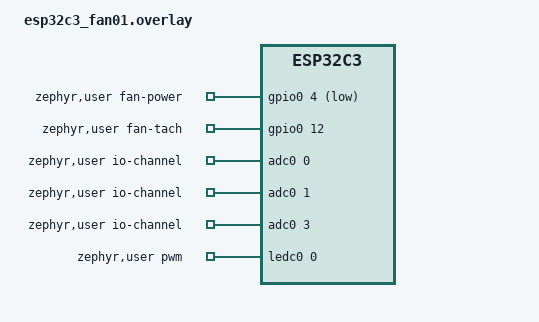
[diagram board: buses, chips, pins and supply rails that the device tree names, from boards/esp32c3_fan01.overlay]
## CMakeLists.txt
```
# SPDX-License-Identifier: Apache-2.0

cmake_minimum_required(VERSION 3.20.0)

set(EXTRA_ZEPHYR_MODULES ${CMAKE_CURRENT_SOURCE_DIR}/../modules/husb238)
set(DTS_ROOT ${CMAKE_CURRENT_SOURCE_DIR})

find_package(Zephyr REQUIRED HINTS $ENV{ZEPHYR_BASE})
project(fan01)

target_include_directories(app PRIVATE ${CMAKE_CURRENT_SOURCE_DIR}/src)
target_sources(app PRIVATE
	src/main.c
	src/fan_ctrl.c
	src/pd_manager.c
	src/display_manager.c
	src/input_manager.c
	src/settings_manager.c
	src/wifi_manager.c
	src/web_server.c
)

zephyr_linker_sources(SECTIONS sections-rom.ld)
zephyr_linker_section(NAME http_resource_desc_web_service KVMA RAM_REGION GROUP RODATA_REGION)

set(gen_dir ${ZEPHYR_BINARY_DIR}/include/generated/)
generate_inc_file_for_target(app
	${CMAKE_CURRENT_SOURCE_DIR}/web/index.html
	${gen_dir}/index.html.gz.inc
	--gzip
)
```

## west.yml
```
manifest:
  version: 0.8

  self:
    path: project

  projects:
    - name: zephyr
      revision: v4.5.0
      url: https://github.com/zephyrproject-rtos/zephyr.git
      west-commands: scripts/west-commands.yml
      import:
        path-prefix: deps
        file: west.yml
        name-allowlist:
          - hal_espressif
          - mcuboot
          - mbedtls
          - tf-psa-crypto
          - percepio
          - zcbor
```

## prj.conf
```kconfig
# 编译优化
CONFIG_SPEED_OPTIMIZATIONS=y

# 日志系统
CONFIG_LOG=y
CONFIG_LOG_DEFAULT_LEVEL=3
CONFIG_LOG_FLUSH_SLEEP_US=100

# 调试相关
CONFIG_DEBUG_THREAD_INFO=y
CONFIG_DEBUG=y

# 堆栈大小
CONFIG_MAIN_STACK_SIZE=2048
CONFIG_SYSTEM_WORKQUEUE_STACK_SIZE=2048
CONFIG_IDLE_STACK_SIZE=1024
CONFIG_ISR_STACK_SIZE=2048
CONFIG_INPUT_THREAD_STACK_SIZE=2048
CONFIG_LOG_PROCESS_THREAD_STACK_SIZE=2048

# 基础支持
CONFIG_INIT_STACKS=y
CONFIG_CBPRINTF_FP_SUPPORT=y
CONFIG_REBOOT=y
CONFIG_HEAP_MEM_POOL_SIZE=81920

# GPIO / PWM / ADC
CONFIG_GPIO=y
CONFIG_PWM=y
CONFIG_ADC=y

# 按键输入 (gpio-keys)
CONFIG_INPUT=y
CONFIG_INPUT_GPIO_KEYS=y

# Flash 与 Settings (NVS) + MCUboot OTA
CONFIG_FLASH=y
CONFIG_FLASH_MAP=y
CONFIG_FLASH_PAGE_LAYOUT=y
CONFIG_STREAM_FLASH=y
CONFIG_IMG_MANAGER=y
CONFIG_MCUBOOT_IMG_MANAGER=y
CONFIG_IMG_ERASE_PROGRESSIVELY=y
CONFIG_NVS=y
CONFIG_SETTINGS=y
CONFIG_SETTINGS_NVS=y

# I2C & HUSB238
CONFIG_I2C=y
CONFIG_HUSB238_DRIVER=y

# Display (SSD1306 128x32 OLED)
CONFIG_DISPLAY=y

# Wi-Fi 配置
CONFIG_WIFI=y
CONFIG_WIFI_NM=y
CONFIG_WIFI_ESP32=y
CONFIG_WIFI_USAGE_MODE_STA_AP=y
CONFIG_ESP32_PHY_MAX_TX_POWER=14
CONFIG_ESP32_WIFI_STA_SCAN_ALL=y
CONFIG_ESP32_WIFI_STA_POWER_SAVE_NONE=y
CONFIG_ESP32_WIFI_AMPDU_TX_ENABLED=n
CONFIG_ESP32_WIFI_AMPDU_RX_ENABLED=n
CONFIG_WIFI_STA_AUTO_DHCPV4=n

# 网络协议栈
CONFIG_NETWORKING=y
CONFIG_NET_L2_ETHERNET=y
CONFIG_NET_IPV4=y
CONFIG_NET_IF_MAX_IPV4_COUNT=2
CONFIG_NET_MGMT=y
CONFIG_NET_MGMT_EVENT=y
CONFIG_NET_MGMT_EVENT_INFO=y
CONFIG_NET_MGMT_EVENT_QUEUE_SIZE=64
CONFIG_NET_DHCPV4=y
CONFIG_NET_DHCPV4_INITIAL_DELAY_MAX=2
CONFIG_NET_HOSTNAME_ENABLE=y
CONFIG_NET_HOSTNAME="FAN01"
CONFIG_NET_DHCPV4_SERVER=y
CONFIG_NET_TCP=y
CONFIG_NET_SOCKETS=y
CONFIG_POSIX_API=y
CONFIG_NET_MAX_CONTEXTS=16
CONFIG_NET_MAX_CONN=16
CONFIG_NET_SOCKETS_SERVICE_STACK_SIZE=4096

# Network buffers
CONFIG_NET_PKT_RX_COUNT=16
CONFIG_NET_PKT_TX_COUNT=16
CONFIG_NET_BUF_RX_COUNT=64
CONFIG_NET_BUF_TX_COUNT=64

# ZVFS / HTTP Server
CONFIG_EVENTFD=y
CONFIG_ZVFS_EVENTFD_MAX=16
CONFIG_ZVFS_POLL_MAX=24
CONFIG_HTTP_PARSER=y
CONFIG_HTTP_PARSER_URL=y
CONFIG_HTTP_SERVER=y
CONFIG_HTTP_SERVER_MAX_CLIENTS=8
CONFIG_HTTP_SERVER_CLIENT_INACTIVITY_TIMEOUT=5
CONFIG_HTTP_SERVER_COMPRESSION=y

# Shell
CONFIG_SHELL=y
CONFIG_NET_SHELL=y
CONFIG_NET_L2_WIFI_SHELL=y
```

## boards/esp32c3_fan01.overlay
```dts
/* SPDX-License-Identifier: Apache-2.0 */

#include <zephyr/dt-bindings/pwm/pwm.h>
#include <zephyr/dt-bindings/gpio/gpio.h>

/ {
	chosen {
		zephyr,settings-partition = &settings_partition;
	};

	zephyr,user {
		/*
		 * ADC1 channels:
		 *   0 -> CH0 (GPIO0): 风扇电流采样
		 *   1 -> CH1 (GPIO1): 风扇电压采样
		 *   2 -> CH3 (GPIO3): 输入电压采样
		 */
		io-channels = <&adc0 0>,
			      <&adc0 1>,
			      <&adc0 3>;

		/* LEDC CH0 (GPIO13), 1.5kHz 反相 PWM */
		pwms = <&ledc0 0 PWM_HZ(1500) PWM_POLARITY_INVERTED>;

		/* GPIO4: 风扇供电控制（开漏输出，低电平有效） */
		fan-power-gpios = <&gpio0 4 (GPIO_OPEN_DRAIN | GPIO_ACTIVE_LOW)>;

		/* GPIO12: 风扇转速脉冲输入（每转 2 脉冲） */
		fan-tach-gpios = <&gpio0 12 GPIO_ACTIVE_HIGH>;
	};

	wifi_ap: wifi_ap {
		compatible = "espressif,esp32-wifi";
		status = "okay";
	};
};
```

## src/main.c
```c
/*
 * Copyright (c) 2024 umi
 *
 * SPDX-License-Identifier: Apache-2.0
 */

#include <hal/brownout_ll.h>
#include <zephyr/dfu/mcuboot.h>
#include <zephyr/init.h>
#include <zephyr/kernel.h>
#include <zephyr/logging/log.h>

#include "display_manager.h"
#include "fan_ctrl.h"
#include "input_manager.h"
#include "pd_manager.h"
#include "settings_manager.h"
#include "web_server.h"
#include "wifi_manager.h"

LOG_MODULE_REGISTER(main, LOG_LEVEL_INF);

static int early_brownout_cfg(void)
{
	/* 与原 ESP-IDF sdkconfig 对齐：关闭无消抖硬件模拟 BOD 复位，设为最低阈值 7 (2.51V) 并延长消抖周期 */
	brownout_ll_ana_reset_enable(false);
	brownout_ll_set_threshold(7);
	brownout_ll_reset_config(true, 0x3ff, BROWNOUT_RESET_LEVEL_SYSTEM);
	brownout_ll_bod_enable(true);
	return 0;
}

SYS_INIT(early_brownout_cfg, PRE_KERNEL_1, 0);

int main(void)
{
	LOG_INF("FAN01 starting (Zephyr)...");

	settings_manager_init();

	float kp, ki, kd;

	settings_get_pid(&kp, &ki, &kd);
	fan_ctrl_set_pid(kp, ki, kd);

	fan_ctrl_init();
	pd_manager_init((enum husb238_pdo_voltage)settings_get_pdo_voltage());
	display_manager_init();

	/* 等待 Type-C PD 电压协商完成（最多 800ms），避免在 5V 切换期触发 Wi-Fi 射频校准峰值电流导致欠压复位 */
	for (int i = 0; i < 16 && !pd_manager_is_settled(); i++) {
		k_msleep(50);
	}

	if (settings_get_fan_speed_use_storage()) {
		fan_ctrl_set_target_speed(settings_get_fan_speed());
		fan_ctrl_set_switch(settings_get_fan_switch());
	}

	wifi_manager_init();
	web_server_start();
	input_manager_init();

	/* MCUboot OTA 确认：当前镜像正常启动后标记为已确认 */
	if (!boot_is_img_confirmed()) {
		int rc = boot_write_img_confirmed();

		if (rc == 0) {
			LOG_INF("MCUboot image confirmed");
		} else {
			LOG_WRN("boot_write_img_confirmed failed: %d", rc);
		}
	}

	while (1) {
		k_sleep(K_SECONDS(1));
	}

	return 0;
}
```

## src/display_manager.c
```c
/*
 * Copyright (c) 2024 umi
 *
 * SPDX-License-Identifier: Apache-2.0
 */

#include "display_manager.h"
#include "fan_ctrl.h"
#include "settings_manager.h"
#include "wifi_manager.h"

#include <stdio.h>
#include <string.h>
#include <zephyr/device.h>
#include <zephyr/drivers/display.h>
#include <zephyr/drivers/i2c.h>
#include <zephyr/kernel.h>
#include <zephyr/logging/log.h>

LOG_MODULE_REGISTER(display_mgr, LOG_LEVEL_INF);

#define DISPLAY_NODE  DT_CHOSEN(zephyr_display)
#define OLED_I2C_BUS  DT_BUS(DISPLAY_NODE)
#define OLED_I2C_ADDR DT_REG_ADDR(DISPLAY_NODE)
#define DISP_W        128
#define DISP_H        32
#define DISP_PAGES    (DISP_H / 8)
#define DISP_BUF_SZ   (DISP_W * DISP_PAGES)

#define ANIM_DURATION_MS 220
#define RENDER_ANIM_MS   16
#define RENDER_BLINK_MS  100
#define RENDER_IDLE_MS   120
#define WIFI_BLINK_MS    300

static const struct device *display_dev;
static const struct device *oled_i2c_dev;
static bool display_ready;
static bool boot_sync_done;
static uint8_t frame_buf[DISP_BUF_SZ];

static const struct display_buffer_descriptor frame_desc = {
	.buf_size = DISP_BUF_SZ,
	.width = DISP_W,
	.height = DISP_H,
	.pitch = DISP_W,
};

/* 标准 5x7 ASCII 点阵字体（按列排列，6px 等宽步进） */
static const uint8_t font_5x7[95][5] = {
	{0x00, 0x00, 0x00, 0x00, 0x00}, /* ' ' */
	{0x00, 0x00, 0x5F, 0x00, 0x00}, /* '!' */
	{0x00, 0x07, 0x00, 0x07, 0x00}, /* '"' */
	{0x14, 0x7F, 0x14, 0x7F, 0x14}, /* '#' */
	{0x24, 0x2A, 0x7F, 0x2A, 0x12}, /* '$' */
	{0x23, 0x13, 0x08, 0x64, 0x62}, /* '%' */
	{0x36, 0x49, 0x55, 0x22, 0x50}, /* '&' */
	{0x00, 0x05, 0x03, 0x00, 0x00}, /* ''' */
	{0x00, 0x1C, 0x22, 0x41, 0x00}, /* '(' */
	{0x00, 0x41, 0x22, 0x1C, 0x00}, /* ')' */
	{0x14, 0x08, 0x3E, 0x08, 0x14}, /* '*' */
	{0x08, 0x08, 0x3E, 0x08, 0x08}, /* '+' */
	{0x00, 0x50, 0x30, 0x00, 0x00}, /* ',' */
	{0x08, 0x08, 0x08, 0x08, 0x08}, /* '-' */
	{0x00, 0x60, 0x60, 0x00, 0x00}, /* '.' */
	{0x20, 0x10, 0x08, 0x04, 0x02}, /* '/' */
	{0x3E, 0x51, 0x49, 0x45, 0x3E}, /* '0' */
	{0x00, 0x42, 0x7F, 0x40, 0x00}, /* '1' */
	{0x42, 0x61, 0x51, 0x49, 0x46}, /* '2' */
	{0x21, 0x41, 0x45, 0x4B, 0x31}, /* '3' */
	{0x18, 0x14, 0x12, 0x7F, 0x10}, /* '4' */
	{0x27, 0x45, 0x45, 0x45, 0x39}, /* '5' */
	{0x3C, 0x4A, 0x49, 0x49, 0x30}, /* '6' */
	{0x01, 0x71, 0x09, 0x05, 0x03}, /* '7' */
	{0x36, 0x49, 0x49, 0x49, 0x36}, /* '8' */
	{0x06, 0x49, 0x49, 0x29, 0x1E}, /* '9' */
	{0x00, 0x36, 0x36, 0x00, 0x00}, /* ':' */
	{0x00, 0x56, 0x36, 0x00, 0x00}, /* ';' */
	{0x08, 0x14, 0x22, 0x41, 0x00}, /* '<' */
	{0x14, 0x14, 0x14, 0x14, 0x14}, /* '=' */
	{0x00, 0x41, 0x22, 0x14, 0x08}, /* '>' */
	{0x02, 0x01, 0x51, 0x09, 0x06}, /* '?' */
	{0x32, 0x49, 0x79, 0x41, 0x3E}, /* '@' */
	{0x7E, 0x11, 0x11, 0x11, 0x7E}, /* 'A' */
	{0x7F, 0x49, 0x49, 0x49, 0x36}, /* 'B' */
	{0x3E, 0x41, 0x41, 0x41, 0x22}, /* 'C' */
	{0x7F, 0x41, 0x41, 0x22, 0x1C}, /* 'D' */
	{0x7F, 0x49, 0x49, 0x49, 0x41}, /* 'E' */
	{0x7F, 0x09, 0x09, 0x09, 0x01}, /* 'F' */
	{0x3E, 0x41, 0x49, 0x49, 0x7A}, /* 'G' */
	{0x7F, 0x08, 0x08, 0x08, 0x7F}, /* 'H' */
	{0x00, 0x41, 0x7F, 0x41, 0x00}, /* 'I' */
	{0x20, 0x40, 0x41, 0x3F, 0x01}, /* 'J' */
	{0x7F, 0x08, 0x14, 0x22, 0x41}, /* 'K' */
	{0x7F, 0x40, 0x40, 0x40, 0x40}, /* 'L' */
	{0x7F, 0x02, 0x0C, 0x02, 0x7F}, /* 'M' */
	{0x7F, 0x04, 0x08, 0x10, 0x7F}, /* 'N' */
	{0x3E, 0x41, 0x41, 0x41, 0x3E}, /* 'O' */
	{0x7F, 0x09, 0x09, 0x09, 0x06}, /* 'P' */
	{0x3E, 0x41, 0x51, 0x21, 0x5E}, /* 'Q' */
	{0x7F, 0x09, 0x19, 0x29, 0x46}, /* 'R' */
	{0x46, 0x49, 0x49, 0x49, 0x31}, /* 'S' */
	{0x01, 0x01, 0x7F, 0x01, 0x01}, /* 'T' */
	{0x3F, 0x40, 0x40, 0x40, 0x3F}, /* 'U' */
	{0x1F, 0x20, 0x40, 0x20, 0x1F}, /* 'V' */
	{0x3F, 0x40, 0x38, 0x40, 0x3F}, /* 'W' */
	{0x63, 0x14, 0x08, 0x14, 0x63}, /* 'X' */
	{0x07, 0x08, 0x70, 0x08, 0x07}, /* 'Y' */
	{0x61, 0x51, 0x49, 0x45, 0x43}, /* 'Z' */
	{0x00, 0x7F, 0x41, 0x41, 0x00}, /* '[' */
	{0x02, 0x04, 0x08, 0x10, 0x20}, /* '\' */
	{0x00, 0x41, 0x41, 0x7F, 0x00}, /* ']' */
	{0x04, 0x02, 0x01, 0x02, 0x04}, /* '^' */
	{0x40, 0x40, 0x40, 0x40, 0x40}, /* '_' */
	{0x00, 0x01, 0x02, 0x04, 0x00}, /* '`' */
	{0x20, 0x54, 0x54, 0x54, 0x78}, /* 'a' */
	{0x7F, 0x48, 0x44, 0x44, 0x38}, /* 'b' */
	{0x38, 0x44, 0x44, 0x44, 0x20}, /* 'c' */
	{0x38, 0x44, 0x44, 0x48, 0x7F}, /* 'd' */
	{0x38, 0x54, 0x54, 0x54, 0x18}, /* 'e' */
	{0x08, 0x7E, 0x09, 0x01, 0x02}, /* 'f' */
	{0x0C, 0x52, 0x52, 0x52, 0x3E}, /* 'g' */
	{0x7F, 0x08, 0x04, 0x04, 0x78}, /* 'h' */
	{0x00, 0x44, 0x7D, 0x40, 0x00}, /* 'i' */
	{0x20, 0x40, 0x44, 0x3D, 0x00}, /* 'j' */
	{0x7F, 0x10, 0x28, 0x44, 0x00}, /* 'k' */
	{0x00, 0x41, 0x7F, 0x40, 0x00}, /* 'l' */
	{0x7C, 0x04, 0x18, 0x04, 0x78}, /* 'm' */
	{0x7C, 0x08, 0x04, 0x04, 0x78}, /* 'n' */
	{0x38, 0x44, 0x44, 0x44, 0x38}, /* 'o' */
	{0x7C, 0x14, 0x14, 0x14, 0x08}, /* 'p' */
	{0x08, 0x14, 0x14, 0x18, 0x7C}, /* 'q' */
	{0x7C, 0x08, 0x04, 0x04, 0x08}, /* 'r' */
	{0x48, 0x54, 0x54, 0x54, 0x20}, /* 's' */
	{0x04, 0x3F, 0x44, 0x40, 0x20}, /* 't' */
	{0x3C, 0x40, 0x40, 0x20, 0x7C}, /* 'u' */
	{0x1C, 0x20, 0x40, 0x20, 0x1C}, /* 'v' */
	{0x3C, 0x40, 0x30, 0x40, 0x3C}, /* 'w' */
	{0x44, 0x28, 0x10, 0x28, 0x44}, /* 'x' */
	{0x0C, 0x50, 0x50, 0x50, 0x3C}, /* 'y' */
	{0x44, 0x64, 0x54, 0x4C, 0x44}, /* 'z' */
	{0x00, 0x08, 0x36, 0x41, 0x00}, /* '{' */
	{0x00, 0x00, 0x7F, 0x00, 0x00}, /* '|' */
	{0x00, 0x41, 0x36, 0x08, 0x00}, /* '}' */
	{0x08, 0x04, 0x08, 0x10, 0x08}, /* '~' */
};

/* 11x9 WiFi 图标（按列排列，每列 2 字节，bit0..bit8） */
static const uint16_t wifi_icon_cols[11] = {
	0x004, /* col 0:   .     */
	0x00A, /* col 1:  . .    */
	0x011, /* col 2: .   .   */
	0x024, /* col 3:         */
	0x04A, /* col 4:         */
	0x155, /* col 5: center  */
	0x04A, /* col 6:         */
	0x024, /* col 7:         */
	0x011, /* col 8:         */
	0x00A, /* col 9:         */
	0x004, /* col 10:        */
};

/* ── 动画插值 (Cubic Ease-Out) ────────────────────────────────────── */

struct anim_coord {
	int start;
	int target;
	int current;
	int64_t start_ms;
	int duration_ms;
};

enum disp_pwr_state {
	DISP_PWR_FULL = 0,
	DISP_PWR_DIM,
	DISP_PWR_OFF,
};

static K_MUTEX_DEFINE(ui_lock);
static K_SEM_DEFINE(ui_wake_sem, 0, 1);

static bool on_wifi_page;
static struct anim_coord main_y = {.target = 0, .current = 0};
static struct anim_coord wifi_y = {.target = DISP_H, .current = DISP_H};

static enum disp_pwr_state pwr_state = DISP_PWR_FULL;
static int64_t last_activity_ms;
static bool cfg_dirty = true;
static uint8_t applied_contrast = 255;

static void anim_set_target(struct anim_coord *a, int target, int duration_ms)
{
	a->start = a->current;
	a->target = target;
	a->start_ms = k_uptime_get();
	a->duration_ms = duration_ms;
}

static bool anim_step(struct anim_coord *a, int64_t now_ms)
{
	if (a->current == a->target) {
		return false;
	}

	if (a->duration_ms <= 0 || (now_ms - a->start_ms) >= a->duration_ms) {
		a->current = a->target;
		return false;
	}

	float t = (float)(now_ms - a->start_ms) / (float)a->duration_ms;
	float inv = 1.0f - t;
	float ease = 1.0f - inv * inv * inv;

	a->current = a->start + (int)((float)(a->target - a->start) * ease +
				      ((a->target >= a->start) ? 0.5f : -0.5f));
	return true;
}

/* ── 帧缓冲绘图原语 ───────────────────────────────────────────────── */

static void fb_set_pixel(int x, int y)
{
	if (x < 0 || x >= DISP_W || y < 0 || y >= DISP_H) {
		return;
	}
	frame_buf[(y >> 3) * DISP_W + x] |= BIT(y & 0x07);
}

static void fb_fill_rect(int x, int y, int w, int h)
{
	for (int dy = 0; dy < h; dy++) {
		for (int dx = 0; dx < w; dx++) {
			fb_set_pixel(x + dx, y + dy);
		}
	}
}

static void fb_draw_char(int x, int y, char c)
{
	if (c < 0x20 || c > 0x7E) {
		c = '?';
	}
	const uint8_t *glyph = font_5x7[c - 0x20];

	for (int col = 0; col < 5; col++) {
		uint8_t bits = glyph[col];

		for (int row = 0; row < 7; row++) {
			if (bits & BIT(row)) {
				fb_set_pixel(x + col, y + row);
			}
		}
	}
}

static void fb_draw_str(int x, int y, const char *str)
{
	while (*str) {
		fb_draw_char(x, y, *str++);
		x += 6;
	}
}

static void fb_draw_str_clip(int x, int y, const char *str, int max_chars)
{
	for (int i = 0; i < max_chars && str[i] != '\0'; i++) {
		fb_draw_char(x + i * 6, y, str[i]);
	}
}

/*
 * 12x20 粗体圆角七段数字渲染（用于主页面左上角大号转速显示）
 * 7段编码 bit0..bit6: a(top), b(top-R), c(bot-R), d(bot), e(bot-L), f(top-L), g(mid)
 */
static void fb_draw_big_digit(int x, int y, uint8_t digit)
{
	static const uint8_t seg_lut[10] = {
		0x3F, /* 0: a b c d e f */
		0x06, /* 1: b c */
		0x5B, /* 2: a b d e g */
		0x4F, /* 3: a b c d g */
		0x66, /* 4: b c f g */
		0x6D, /* 5: a c d f g */
		0x7D, /* 6: a c d e f g */
		0x07, /* 7: a b c */
		0x7F, /* 8: all */
		0x6F, /* 9: a b c d f g */
	};

	if (digit > 9) {
		return;
	}

	uint8_t s = seg_lut[digit];

	if (s & BIT(0)) { /* a: 顶横 */
		fb_fill_rect(x + 1, y + 0, 10, 3);
	}
	if (s & BIT(1)) { /* b: 右上竖 */
		fb_fill_rect(x + 9, y + 1, 3, 8);
	}
	if (s & BIT(2)) { /* c: 右下竖 */
		fb_fill_rect(x + 9, y + 11, 3, 8);
	}
	if (s & BIT(3)) { /* d: 底横 */
		fb_fill_rect(x + 1, y + 17, 10, 3);
	}
	if (s & BIT(4)) { /* e: 左下竖 */
		fb_fill_rect(x + 0, y + 11, 3, 8);
	}
	if (s & BIT(5)) { /* f: 左上竖 */
		fb_fill_rect(x + 0, y + 1, 3, 8);
	}
	if (s & BIT(6)) { /* g: 中横 */
		fb_fill_rect(x + 1, y + 8, 10, 3);
	}
}

/* 右对齐绘制大号 RPM，保证个/十/百/千/万位 X 坐标固定不跳动 */
static void fb_draw_big_rpm_right(int right_x, int y, uint16_t rpm)
{
	char digits[6];
	int len = snprintf(digits, sizeof(digits), "%u", rpm);
	int x = right_x - 12;

	for (int i = len - 1; i >= 0; i--) {
		fb_draw_big_digit(x, y, (uint8_t)(digits[i] - '0'));
		x -= 14;
	}
}

static void fb_draw_wifi_icon(int x, int y)
{
	/* 简洁清晰的 11x9 扇形 WiFi 图标 */
	static const uint16_t icon[11] = {
		0x004, /* .       */
		0x002, /* .       */
		0x019, /* arcs    */
		0x024,
		0x082,
		0x149, /* dot+top */
		0x082,
		0x024,
		0x019,
		0x002,
		0x004,
	};

	for (int col = 0; col < 11; col++) {
		uint16_t bits = icon[col];

		for (int row = 0; row < 9; row++) {
			if (bits & BIT(row)) {
				fb_set_pixel(x + col, y + row);
			}
		}
	}
}

static void fb_draw_ap_icon(int x, int y)
{
	/* AP 发射塔图标 11x9 */
	fb_fill_rect(x + 5, y + 3, 1, 6);
	fb_fill_rect(x + 4, y + 2, 3, 2);
	fb_set_pixel(x + 2, y + 1);
	fb_set_pixel(x + 1, y + 2);
	fb_set_pixel(x + 1, y + 3);
	fb_set_pixel(x + 2, y + 4);
	fb_set_pixel(x + 8, y + 1);
	fb_set_pixel(x + 9, y + 2);
	fb_set_pixel(x + 9, y + 3);
	fb_set_pixel(x + 8, y + 4);
}

static void fb_draw_rssi_bars(int x, int y, int bars)
{
	/* 4 阶信号柱 (11x7，与上方 11x9 WiFi 图标左对齐) */
	static const uint8_t heights[4] = {2, 4, 6, 7};

	for (int i = 0; i < 4; i++) {
		int bx = x + i * 3;
		int h = heights[i];

		if (i < bars) {
			fb_fill_rect(bx, y + 7 - h, 2, h);
		} else {
			/* 未达到的柱位画 1px 底座点，提示总格数 */
			fb_fill_rect(bx, y + 6, 2, 1);
		}
	}
}

static int rssi_to_bars(int8_t rssi)
{
	if (rssi >= 0) {
		return 0;
	}
	if (rssi >= -55) {
		return 4;
	}
	if (rssi >= -67) {
		return 3;
	}
	if (rssi >= -78) {
		return 2;
	}
	if (rssi >= -90) {
		return 1;
	}
	return 0;
}

/* ── 页面绘制 ─────────────────────────────────────────────────────── */

static void draw_main_page(int oy, int64_t now_ms, const struct wifi_info *winfo)
{
	if (oy <= -DISP_H || oy >= DISP_H) {
		return;
	}

	/* 左上角: 实时转速大数字（右对齐在 x=78，防止位数变化跳动） */
	fb_draw_big_rpm_right(78, oy + 1, fan_ctrl_get_speed());

	/* 左下角: 开关状态放左边，目标转速右对齐放右边 */
	fb_draw_str(0, oy + 24, fan_ctrl_get_switch() ? "ON" : "OFF");

	char target_str[20];
	int tlen = snprintf(target_str, sizeof(target_str), "TS:%u",
			    fan_ctrl_get_target_speed());
	int tx = 79 - tlen * 6;

	if (tx < 22) {
		tx = 22;
	}
	fb_draw_str(tx, oy + 24, target_str);

	/* 右侧状态栏分隔线 */
	fb_fill_rect(82, oy + 1, 1, 30);

	/* 右侧状态栏 (x=85..127)，不显示 IP */
	bool blink_on = ((now_ms / WIFI_BLINK_MS) % 2) == 0;

	if (winfo->state == WIFI_STATE_CONNECTING) {
		if (blink_on) {
			fb_draw_wifi_icon(86, oy + 1);
		}
		fb_draw_str(101, oy + 2, "LINK");
		fb_draw_rssi_bars(86, oy + 13, 0);
		fb_draw_str(101, oy + 13, "--");
	} else if (winfo->state == WIFI_STATE_CONNECTED) {
		char rstr[8];

		fb_draw_wifi_icon(86, oy + 1);
		fb_draw_str(101, oy + 2, "STA");
		fb_draw_rssi_bars(86, oy + 13, rssi_to_bars(winfo->rssi));
		if (winfo->rssi < 0) {
			snprintf(rstr, sizeof(rstr), "%d", (int)winfo->rssi);
		} else {
			snprintf(rstr, sizeof(rstr), "--");
		}
		fb_draw_str_clip(101, oy + 13, rstr, 4);
	} else {
		/* AP 模式或空闲 */
		fb_draw_ap_icon(86, oy + 1);
		fb_draw_str(101, oy + 2, "AP");
		fb_draw_rssi_bars(86, oy + 13, 0);
		fb_draw_str(101, oy + 13, "--");
	}

	/* 右下角显示输入电压 (CH3) */
	char vstr[10];

	snprintf(vstr, sizeof(vstr), "%.1fV", (double)fan_ctrl_get_voltage());
	fb_draw_str_clip(86, oy + 24, vstr, 7);
}

static void draw_wifi_page(int oy, int64_t now_ms, const struct wifi_info *winfo)
{
	if (oy <= -DISP_H || oy >= DISP_H) {
		return;
	}

	bool blink_on = ((now_ms / WIFI_BLINK_MS) % 2) == 0;
	char line[48];

	if (winfo->state == WIFI_STATE_CONNECTED) {
		fb_draw_str(0, oy + 1, "WIFI: STA OK");
		fb_draw_wifi_icon(116, oy + 0);

		snprintf(line, sizeof(line), "SSID:%s", winfo->ssid);
		fb_draw_str_clip(0, oy + 12, line, 21);

		snprintf(line, sizeof(line), "IP:%s",
			 winfo->ip[0] ? winfo->ip : "0.0.0.0");
		fb_draw_str_clip(0, oy + 23, line, 21);
	} else if (winfo->state == WIFI_STATE_CONNECTING) {
		fb_draw_str(0, oy + 1, "WIFI: CONNECTING");
		if (blink_on) {
			fb_draw_wifi_icon(116, oy + 0);
		}

		snprintf(line, sizeof(line), "SSID:%s", winfo->ssid);
		fb_draw_str_clip(0, oy + 12, line, 21);
		fb_draw_str(0, oy + 23, "Connecting...");
	} else {
		fb_draw_str(0, oy + 1,
			    winfo->has_saved_creds ? "WIFI: AP [Reconn]"
						   : "WIFI: AP MODE");
		fb_draw_ap_icon(116, oy + 0);

		snprintf(line, sizeof(line), "AP:%s", winfo->ssid);
		fb_draw_str_clip(0, oy + 12, line, 9);

		if (winfo->ap_psk[0]) {
			char psk_line[20];
			int plen = snprintf(psk_line, sizeof(psk_line), "PW:%s",
					    winfo->ap_psk);
			int px = (DISP_W + 1) - plen * 6;

			if (px < 58) {
				px = 58;
			}
			fb_draw_str_clip(px, oy + 12, psk_line,
					 (DISP_W - px + 1) / 6);
		}

		snprintf(line, sizeof(line), "IP:%s",
			 winfo->ip[0] ? winfo->ip : "192.168.4.1");
		fb_draw_str_clip(0, oy + 23, line, 21);
	}
}

/* ── 渲染线程 ─────────────────────────────────────────────────────── */

static int ssd1306_i2c_sync(uint8_t contrast, bool full_init, bool turn_on)
{
	if (!oled_i2c_dev || !device_is_ready(oled_i2c_dev)) {
		return -ENODEV;
	}

	if (full_init) {
		uint8_t init_cmds[] = {
			0x00,
			0xD5, 0x80, /* Clock div ratio */
			0xA8, 0x1F, /* Multiplex 31 (128x32) */
			0xD3, 0x00, /* Display offset 0 */
			0x40,       /* Start line 0 */
			0x8D, 0x14, /* Enable internal charge pump */
			0x33,       /* Pump voltage 9V */
			0xA1,       /* Segment remap */
			0xC8,       /* COM scan flipped */
			0xDA, 0x02, /* COM pins sequential */
			0xD9, 0x22, /* Precharge period */
			0xDB, 0x20, /* VCOM deselect */
			0xA4,       /* Resume RAM content */
			0xA6,       /* Normal (non-inverted) */
			0x81, contrast,
			turn_on ? 0xAF : 0xAE,
		};

		return i2c_write(oled_i2c_dev, init_cmds, sizeof(init_cmds), OLED_I2C_ADDR);
	}

	uint8_t wake_cmds[] = {
		0x00,
		0x8D, 0x14,
		0xA4,
		0x81, contrast,
		turn_on ? 0xAF : 0xAE,
	};

	return i2c_write(oled_i2c_dev, wake_cmds, sizeof(wake_cmds), OLED_I2C_ADDR);
}

static int oled_flush_fb(uint8_t contrast)
{
	if (display_dev) {
		int ret = display_write(display_dev, 0, 0, &frame_desc, frame_buf);

		if (ret == 0) {
			return 0;
		}
		LOG_WRN("display_write failed (%d), syncing SSD1306", ret);
		ssd1306_i2c_sync(contrast, true, true);
		return display_write(display_dev, 0, 0, &frame_desc, frame_buf);
	}

	if (!oled_i2c_dev || !device_is_ready(oled_i2c_dev)) {
		return -ENODEV;
	}

	uint8_t win_cmds[] = {
		0x00,
		0x20, 0x00,
		0x21, 0x00, DISP_W - 1,
		0x22, 0x00, DISP_PAGES - 1,
	};
	int ret = i2c_write(oled_i2c_dev, win_cmds, sizeof(win_cmds), OLED_I2C_ADDR);

	if (ret != 0) {
		return ret;
	}

	static uint8_t pkt[1 + DISP_BUF_SZ];

	pkt[0] = 0x40;
	memcpy(&pkt[1], frame_buf, DISP_BUF_SZ);
	return i2c_write(oled_i2c_dev, pkt, sizeof(pkt), OLED_I2C_ADDR);
}

static void oled_apply_power(uint8_t contrast, bool on)
{
	if (display_dev) {
		if (on) {
			display_blanking_off(display_dev);
		} else {
			display_blanking_on(display_dev);
		}
	}
	if (on) {
		ssd1306_i2c_sync(contrast, false, true);
	} else if (!display_dev) {
		ssd1306_i2c_sync(contrast, false, false);
	}
}

static void oled_apply_contrast(uint8_t contrast)
{
	if (display_dev) {
		display_set_contrast(display_dev, contrast);
	} else {
		uint8_t cmd[] = { 0x00, 0x81, contrast };

		if (oled_i2c_dev && device_is_ready(oled_i2c_dev)) {
			(void)i2c_write(oled_i2c_dev, cmd, sizeof(cmd), OLED_I2C_ADDR);
		}
	}
}

static void update_display_power(int64_t now_ms)
{
	uint32_t full_s, dim_s;
	uint8_t full_bright, dim_bright;

	settings_get_display_cfg(&full_s, &dim_s, &full_bright, &dim_bright);

	enum disp_pwr_state target_state = DISP_PWR_FULL;
	uint8_t target_contrast = full_bright;

	if (full_s > 0 || dim_s > 0) {
		int64_t idle_ms = now_ms - last_activity_ms;
		int64_t full_ms = (int64_t)full_s * 1000;
		int64_t off_ms = (int64_t)(full_s + dim_s) * 1000;

		if (idle_ms >= off_ms) {
			target_state = DISP_PWR_OFF;
		} else if (idle_ms >= full_ms && dim_s > 0) {
			target_state = DISP_PWR_DIM;
			target_contrast = dim_bright;
		}
	}

	if (target_state != pwr_state || cfg_dirty) {
		if (target_state == DISP_PWR_OFF) {
			if (pwr_state != DISP_PWR_OFF) {
				LOG_INF("OLED auto sleep (OFF)");
				oled_apply_power(applied_contrast, false);
			}
		} else {
			if (pwr_state == DISP_PWR_OFF) {
				LOG_INF("OLED wake");
				oled_apply_power(target_contrast, true);
			}
			if (applied_contrast != target_contrast || cfg_dirty) {
				applied_contrast = target_contrast;
				oled_apply_contrast(target_contrast);
			}
		}
		pwr_state = target_state;
		cfg_dirty = false;
	}
}

static void display_thread_fn(void *arg1, void *arg2, void *arg3)
{
	ARG_UNUSED(arg1);
	ARG_UNUSED(arg2);
	ARG_UNUSED(arg3);

	while (1) {
		if (!display_ready) {
			k_sleep(K_MSEC(500));
			continue;
		}

		struct wifi_info winfo;

		wifi_manager_get_info(&winfo);

		bool animating = false;
		int64_t now = k_uptime_get();

		k_mutex_lock(&ui_lock, K_FOREVER);
		update_display_power(now);
		bool is_off = (pwr_state == DISP_PWR_OFF);

		if (!is_off) {
			if (!boot_sync_done && now >= 1200) {
				ssd1306_i2c_sync(applied_contrast, true, true);
				boot_sync_done = true;
			}
			animating |= anim_step(&main_y, now);
			animating |= anim_step(&wifi_y, now);

			memset(frame_buf, 0, sizeof(frame_buf));
			draw_main_page(main_y.current, now, &winfo);
			draw_wifi_page(wifi_y.current, now, &winfo);
		}
		k_mutex_unlock(&ui_lock);

		if (!is_off) {
			if (oled_flush_fb(applied_contrast) != 0) {
				ssd1306_i2c_sync(applied_contrast, true, true);
			}
		}

		int wait_ms = RENDER_IDLE_MS;

		if (is_off) {
			wait_ms = 250;
		} else if (animating) {
			wait_ms = RENDER_ANIM_MS;
		} else if (winfo.state == WIFI_STATE_CONNECTING) {
			wait_ms = RENDER_BLINK_MS;
		}

		k_sem_take(&ui_wake_sem, K_MSEC(wait_ms));
	}
}

K_THREAD_DEFINE(display_thread_id, 2048, display_thread_fn,
		NULL, NULL, NULL, 7, 0, 100);

/* ── 公共 API ──────────────────────────────────────────────────────── */

int display_manager_init(void)
{
	ARG_UNUSED(wifi_icon_cols);

	oled_i2c_dev = DEVICE_DT_GET(OLED_I2C_BUS);
	display_dev = DEVICE_DT_GET(DISPLAY_NODE);
	if (!device_is_ready(display_dev)) {
		LOG_WRN("Zephyr ssd1306 device not ready, using direct I2C fallback");
		display_dev = NULL;
	}

	uint8_t full_bright = 255;

	settings_get_display_cfg(NULL, NULL, &full_bright, NULL);
	applied_contrast = full_bright;
	last_activity_ms = k_uptime_get();
	pwr_state = DISP_PWR_FULL;
	cfg_dirty = false;
	boot_sync_done = false;

	if (display_dev) {
		/* 使用正常显示模式（黑底亮字），避免反显白底导致烧屏 */
		if (display_set_pixel_format(display_dev, PIXEL_FORMAT_MONO01) != 0) {
			LOG_WRN("Failed to set PIXEL_FORMAT_MONO01");
		}
		display_set_contrast(display_dev, full_bright);
		display_blanking_off(display_dev);
	}

	if (ssd1306_i2c_sync(full_bright, true, true) != 0 && !display_dev) {
		LOG_ERR("Display I2C init failed");
		return -ENODEV;
	}

	memset(frame_buf, 0, sizeof(frame_buf));
	(void)oled_flush_fb(full_bright);
	display_ready = true;
	k_sem_give(&ui_wake_sem);

	LOG_INF("Display manager initialized (SSD1306 128x32 normal mode)");
	return 0;
}

void display_manager_toggle_page(void)
{
	k_mutex_lock(&ui_lock, K_FOREVER);
	last_activity_ms = k_uptime_get();
	on_wifi_page = !on_wifi_page;
	if (on_wifi_page) {
		anim_set_target(&main_y, -DISP_H, ANIM_DURATION_MS);
		anim_set_target(&wifi_y, 0, ANIM_DURATION_MS);
	} else {
		anim_set_target(&main_y, 0, ANIM_DURATION_MS);
		anim_set_target(&wifi_y, DISP_H, ANIM_DURATION_MS);
	}
	k_mutex_unlock(&ui_lock);
	k_sem_give(&ui_wake_sem);
}

bool display_manager_is_wifi_page(void)
{
	bool res;

	k_mutex_lock(&ui_lock, K_FOREVER);
	res = on_wifi_page;
	k_mutex_unlock(&ui_lock);
	return res;
}

void display_manager_request_redraw(void)
{
	k_sem_give(&ui_wake_sem);
}

bool display_manager_wake(void)
{
	bool was_off;

	k_mutex_lock(&ui_lock, K_FOREVER);
	was_off = (pwr_state == DISP_PWR_OFF);
	last_activity_ms = k_uptime_get();
	cfg_dirty = true;
	k_mutex_unlock(&ui_lock);
	k_sem_give(&ui_wake_sem);
	return was_off;
}

void display_manager_reload_cfg(void)
{
	k_mutex_lock(&ui_lock, K_FOREVER);
	last_activity_ms = k_uptime_get();
	cfg_dirty = true;
	k_mutex_unlock(&ui_lock);
	k_sem_give(&ui_wake_sem);
}
```

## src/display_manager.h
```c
/*
 * Copyright (c) 2024 umi
 *
 * SPDX-License-Identifier: Apache-2.0
 */

#ifndef DISPLAY_MANAGER_H_
#define DISPLAY_MANAGER_H_

#include <stdbool.h>

#ifdef __cplusplus
extern "C" {
#endif

int display_manager_init(void);
void display_manager_toggle_page(void);
bool display_manager_is_wifi_page(void);
void display_manager_request_redraw(void);

/* 唤醒屏幕并重置熄屏计时；若唤醒前处于熄屏状态则返回 true */
bool display_manager_wake(void);

/* 当 Web 修改了亮度/熄屏时间配置后通知立即应用 */
void display_manager_reload_cfg(void);

#ifdef __cplusplus
}
#endif

#endif /* DISPLAY_MANAGER_H_ */
```

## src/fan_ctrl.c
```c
/*
 * Copyright (c) 2024 umi
 *
 * SPDX-License-Identifier: Apache-2.0
 */

#include "fan_ctrl.h"
#include "settings_manager.h"

#include <stdlib.h>
#include <string.h>
#include <zephyr/device.h>
#include <zephyr/drivers/adc.h>
#include <zephyr/drivers/gpio.h>
#include <zephyr/drivers/pwm.h>
#include <zephyr/kernel.h>
#include <zephyr/logging/log.h>
#include <zephyr/shell/shell.h>
#include <zephyr/sys/atomic.h>

LOG_MODULE_REGISTER(fan_ctrl, LOG_LEVEL_INF);

#define FAN_TASK_CYCLE_MS    50
#define FAN_STACK_SIZE       2048
#define FAN_THREAD_PRIORITY  5
#define ADC_AVG_SAMPLES      16
#define TACH_TIMEOUT_MS      1000

/* ── DeviceTree 硬件规格 ───────────────────────────────────────────── */

static const struct gpio_dt_spec fan_power_gpio =
	GPIO_DT_SPEC_GET(DT_PATH(zephyr_user), fan_power_gpios);
static const struct gpio_dt_spec fan_tach_gpio =
	GPIO_DT_SPEC_GET(DT_PATH(zephyr_user), fan_tach_gpios);
static const struct pwm_dt_spec fan_pwm =
	PWM_DT_SPEC_GET(DT_PATH(zephyr_user));

static const struct adc_dt_spec adc_current_spec =
	ADC_DT_SPEC_GET_BY_IDX(DT_PATH(zephyr_user), 0);
static const struct adc_dt_spec adc_fan_v_spec =
	ADC_DT_SPEC_GET_BY_IDX(DT_PATH(zephyr_user), 1);
static const struct adc_dt_spec adc_in_v_spec =
	ADC_DT_SPEC_GET_BY_IDX(DT_PATH(zephyr_user), 2);

/* ── PID 控制器（参数与原 ESP-IDF 工程一致） ──────────────────────── */

struct pid_ctrl {
	float p;
	float i;
	float d;
	float i_min;
	float i_max;
	float diff;
	float diff_sum;
	float target_val;
};

static struct pid_ctrl fan_pid = {
	.p = 0.0008f,
	.i = 0.0f,
	.d = 0.0005f,
	.i_min = -0.5f,
	.i_max = 0.5f,
};

static float clamp_f(float v, float min_v, float max_v)
{
	if (v < min_v) {
		return min_v;
	}
	if (v > max_v) {
		return max_v;
	}
	return v;
}

static void pid_reset(struct pid_ctrl *pid)
{
	pid->diff = 0.0f;
	pid->diff_sum = 0.0f;
}

static float pid_calc(struct pid_ctrl *pid, float now_val)
{
	float diff_change = pid->target_val - now_val - pid->diff;

	pid->diff += diff_change;
	pid->diff_sum = clamp_f(pid->diff_sum + pid->diff, pid->i_min, pid->i_max);

	return pid->diff * pid->p + pid->diff_sum * pid->i + diff_change * pid->d;
}

/* ── 状态变量 ──────────────────────────────────────────────────────── */

static bool fan_power_switch;
static float current_duty_cycle;

static int32_t filter_voltage_mv;
static int32_t filter_current_ma;
static int32_t filter_power_mw;

/* 测速状态 */
static struct gpio_callback tach_cb;
static uint32_t tach_last_cyc;
static bool tach_has_prev;
static atomic_t tach_rpm_atomic = ATOMIC_INIT(0);
static atomic_t tach_last_ms_atomic = ATOMIC_INIT(0);

static K_SEM_DEFINE(fan_start_sem, 0, 1);

static void tach_isr(const struct device *dev, struct gpio_callback *cb, uint32_t pins)
{
	ARG_UNUSED(dev);
	ARG_UNUSED(cb);
	ARG_UNUSED(pins);

	uint32_t now_cyc = k_cycle_get_32();

	if (tach_has_prev) {
		uint32_t diff_cyc = now_cyc - tach_last_cyc;
		uint64_t diff_us = k_cyc_to_us_near64(diff_cyc);

		/* 过滤毛刺脉冲 (<500us 对应 >60000RPM) */
		if (diff_us >= 500U) {
			uint32_t rpm = (uint32_t)(0.5f * (60000000.0f / (float)diff_us));

			atomic_set(&tach_rpm_atomic, (atomic_val_t)rpm);
			atomic_set(&tach_last_ms_atomic, (atomic_val_t)k_uptime_get_32());
			tach_last_cyc = now_cyc;
		}
	} else {
		tach_last_cyc = now_cyc;
		tach_has_prev = true;
		atomic_set(&tach_last_ms_atomic, (atomic_val_t)k_uptime_get_32());
	}
}

static int read_adc_avg_mv(const struct adc_dt_spec *spec, int32_t *out_mv)
{
	uint16_t raw_buf = 0;
	struct adc_sequence seq = {
		.buffer = &raw_buf,
		.buffer_size = sizeof(raw_buf),
	};
	int32_t sum_mv = 0;
	int valid = 0;

	adc_sequence_init_dt(spec, &seq);

	for (int i = 0; i < ADC_AVG_SAMPLES; i++) {
		int err = adc_read_dt(spec, &seq);

		if (err == 0) {
			int32_t mv = (int32_t)raw_buf;

			err = adc_raw_to_millivolts_dt(spec, &mv);
			if (err == 0) {
				sum_mv += mv;
				valid++;
			}
		}
	}

	if (valid == 0) {
		return -EIO;
	}

	*out_mv = sum_mv / valid;
	return 0;
}

static void fan_set_duty_cycle(float duty_pct)
{
	current_duty_cycle = clamp_f(duty_pct, 0.0f, 100.0f);
	uint32_t pulse_ns = (uint32_t)(((double)fan_pwm.period * (double)current_duty_cycle) / 100.0);
	int err = pwm_set_pulse_dt(&fan_pwm, pulse_ns);

	if (err != 0) {
		LOG_ERR("pwm_set_pulse_dt failed: %d", err);
	}
}

static void fan_read_power(void)
{
	int32_t raw_v_mv = 0;
	int32_t raw_i_mv = 0;

	if (read_adc_avg_mv(&adc_in_v_spec, &raw_v_mv) == 0) {
		int32_t voltage_mv = (raw_v_mv * 27500) / 2500;

		filter_voltage_mv = (filter_voltage_mv * 3 + voltage_mv) / 4;
	}

	if (read_adc_avg_mv(&adc_current_spec, &raw_i_mv) == 0) {
		int32_t current_ma = (raw_i_mv * 2020) / 2500;

		filter_current_ma = (filter_current_ma * 3 + current_ma) / 4;
	}

	filter_power_mw = (filter_current_ma * filter_voltage_mv) / 1000;
}

static void fan_thread_fn(void *arg1, void *arg2, void *arg3)
{
	ARG_UNUSED(arg1);
	ARG_UNUSED(arg2);
	ARG_UNUSED(arg3);

	k_sem_take(&fan_start_sem, K_FOREVER);

	while (1) {
		k_sleep(K_MSEC(FAN_TASK_CYCLE_MS));

		/* 超时未收到脉冲则转速归零 */
		uint32_t now_ms = k_uptime_get_32();
		uint32_t last_ms = (uint32_t)atomic_get(&tach_last_ms_atomic);

		if ((now_ms - last_ms) > TACH_TIMEOUT_MS) {
			atomic_set(&tach_rpm_atomic, 0);
		}

		fan_read_power();

		if (fan_power_switch) {
			float delta = pid_calc(&fan_pid, (float)fan_ctrl_get_speed());

			fan_set_duty_cycle(current_duty_cycle + delta);
		} else {
			pid_reset(&fan_pid);
			fan_set_duty_cycle(0.0f);
		}
	}
}

K_THREAD_DEFINE(fan_thread_id, FAN_STACK_SIZE, fan_thread_fn,
		NULL, NULL, NULL, FAN_THREAD_PRIORITY, 0, 0);

/* ── 公共 API ──────────────────────────────────────────────────────── */

int fan_ctrl_init(void)
{
	int err;

	if (!gpio_is_ready_dt(&fan_power_gpio)) {
		LOG_ERR("Fan power GPIO not ready");
		return -ENODEV;
	}
	/* 配置开漏输出，初始关闭供电，由 fan_ctrl_set_switch 联动控制 */
	err = gpio_pin_configure_dt(&fan_power_gpio,
				      fan_power_switch ? GPIO_OUTPUT_ACTIVE : GPIO_OUTPUT_INACTIVE);
	if (err != 0) {
		LOG_ERR("Fan power GPIO config failed: %d", err);
		return err;
	}

	if (!gpio_is_ready_dt(&fan_tach_gpio)) {
		LOG_ERR("Fan tach GPIO not ready");
		return -ENODEV;
	}
	err = gpio_pin_configure_dt(&fan_tach_gpio, GPIO_INPUT);
	if (err != 0) {
		LOG_ERR("Fan tach GPIO config failed: %d", err);
		return err;
	}

	gpio_init_callback(&tach_cb, tach_isr, BIT(fan_tach_gpio.pin));
	err = gpio_add_callback(fan_tach_gpio.port, &tach_cb);
	if (err != 0) {
		LOG_ERR("Tach add_callback failed: %d", err);
		return err;
	}
	err = gpio_pin_interrupt_configure_dt(&fan_tach_gpio, GPIO_INT_EDGE_RISING);
	if (err != 0) {
		LOG_ERR("Tach int config failed: %d", err);
		return err;
	}

	if (!pwm_is_ready_dt(&fan_pwm)) {
		LOG_ERR("Fan PWM device not ready");
		return -ENODEV;
	}
	fan_set_duty_cycle(0.0f);

	const struct adc_dt_spec *adcs[] = {
		&adc_current_spec,
		&adc_fan_v_spec,
		&adc_in_v_spec,
	};

	for (size_t i = 0; i < ARRAY_SIZE(adcs); i++) {
		if (!adc_is_ready_dt(adcs[i])) {
			LOG_ERR("ADC channel %zu not ready", i);
			return -ENODEV;
		}
		err = adc_channel_setup_dt(adcs[i]);
		if (err != 0) {
			LOG_ERR("ADC channel %zu setup failed: %d", i, err);
			return err;
		}
	}

	k_sem_give(&fan_start_sem);
	LOG_INF("Fan controller initialized");
	return 0;
}

void fan_ctrl_set_switch(bool sw)
{
	if (fan_power_switch != sw) {
		fan_power_switch = sw;
		gpio_pin_set_dt(&fan_power_gpio, sw ? 1 : 0);
		LOG_INF("Fan power %s", sw ? "ON" : "OFF");
	}
}

bool fan_ctrl_get_switch(void)
{
	return fan_power_switch;
}

void fan_ctrl_turn_switch(void)
{
	fan_ctrl_set_switch(!fan_power_switch);
}

void fan_ctrl_set_target_speed(uint16_t rpm)
{
	if (rpm > FAN_MAX_TARGET_RPM) {
		rpm = FAN_MAX_TARGET_RPM;
	}
	fan_pid.target_val = (float)rpm;
}

uint16_t fan_ctrl_get_target_speed(void)
{
	return (uint16_t)fan_pid.target_val;
}

uint16_t fan_ctrl_get_speed(void)
{
	return (uint16_t)atomic_get(&tach_rpm_atomic);
}

float fan_ctrl_get_voltage(void)
{
	return (float)filter_voltage_mv / 1000.0f;
}

float fan_ctrl_get_current(void)
{
	return (float)filter_current_ma / 1000.0f;
}

float fan_ctrl_get_power(void)
{
	return (float)filter_power_mw / 1000.0f;
}

float fan_ctrl_get_duty_cycle(void)
{
	return current_duty_cycle;
}

void fan_ctrl_set_pid(float kp, float ki, float kd)
{
	fan_pid.p = kp;
	fan_pid.i = ki;
	fan_pid.d = kd;
	pid_reset(&fan_pid);
}

void fan_ctrl_get_pid(float *kp, float *ki, float *kd)
{
	if (kp) {
		*kp = fan_pid.p;
	}
	if (ki) {
		*ki = fan_pid.i;
	}
	if (kd) {
		*kd = fan_pid.d;
	}
}

/* ── Shell 命令 ─────────────────────────────────────────────────────── */

static int cmd_fan_status(const struct shell *sh, size_t argc, char **argv)
{
	ARG_UNUSED(argc);
	ARG_UNUSED(argv);

	shell_print(sh, "Switch: %s, Duty: %.1f%%",
		    fan_ctrl_get_switch() ? "ON" : "OFF",
		    (double)fan_ctrl_get_duty_cycle());
	shell_print(sh, "Target: %u RPM, Actual: %u RPM",
		    fan_ctrl_get_target_speed(),
		    fan_ctrl_get_speed());
	shell_print(sh, "U=%.2fV, I=%.2fA, P=%.2fW",
		    (double)fan_ctrl_get_voltage(),
		    (double)fan_ctrl_get_current(),
		    (double)fan_ctrl_get_power());
	return 0;
}

static int cmd_fan_switch(const struct shell *sh, size_t argc, char **argv)
{
	if (argc != 2) {
		shell_error(sh, "Usage: fan switch <on|off>");
		return -EINVAL;
	}

	bool on = (!strcmp(argv[1], "on") || !strcmp(argv[1], "1"));

	fan_ctrl_set_switch(on);
	settings_set_fan_switch(on);
	shell_print(sh, "Fan switch set to %s", on ? "ON" : "OFF");
	return 0;
}

static int cmd_fan_speed(const struct shell *sh, size_t argc, char **argv)
{
	if (argc != 2) {
		shell_error(sh, "Usage: fan speed <0..8000>");
		return -EINVAL;
	}

	long rpm = strtol(argv[1], NULL, 10);

	if (rpm < 0) {
		rpm = 0;
	} else if (rpm > FAN_MAX_TARGET_RPM) {
		rpm = FAN_MAX_TARGET_RPM;
	}

	fan_ctrl_set_target_speed((uint16_t)rpm);
	settings_set_fan_speed((uint16_t)rpm);
	shell_print(sh, "Target speed set to %ld RPM", rpm);
	return 0;
}

SHELL_STATIC_SUBCMD_SET_CREATE(sub_fan,
	SHELL_CMD(status, NULL, "Show fan status", cmd_fan_status),
	SHELL_CMD(switch, NULL, "Set fan switch: fan switch <on|off>", cmd_fan_switch),
	SHELL_CMD(speed, NULL, "Set target speed: fan speed <rpm>", cmd_fan_speed),
	SHELL_SUBCMD_SET_END);

SHELL_CMD_REGISTER(fan, &sub_fan, "Fan control commands", NULL);
```

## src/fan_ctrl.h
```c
/*
 * Copyright (c) 2024 umi
 *
 * SPDX-License-Identifier: Apache-2.0
 */

#ifndef FAN_CTRL_H_
#define FAN_CTRL_H_

#include <stdbool.h>
#include <stdint.h>

#ifdef __cplusplus
extern "C" {
#endif

#define FAN_MAX_TARGET_RPM 8000U

int fan_ctrl_init(void);

void fan_ctrl_set_switch(bool sw);
bool fan_ctrl_get_switch(void);
void fan_ctrl_turn_switch(void);

void fan_ctrl_set_target_speed(uint16_t rpm);
uint16_t fan_ctrl_get_target_speed(void);
uint16_t fan_ctrl_get_speed(void);

float fan_ctrl_get_voltage(void);
float fan_ctrl_get_current(void);
float fan_ctrl_get_power(void);
float fan_ctrl_get_duty_cycle(void);
void fan_ctrl_set_pid(float kp, float ki, float kd);
void fan_ctrl_get_pid(float *kp, float *ki, float *kd);

#ifdef __cplusplus
}
#endif

#endif /* FAN_CTRL_H_ */
```

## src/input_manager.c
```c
/*
 * Copyright (c) 2024 umi
 *
 * SPDX-License-Identifier: Apache-2.0
 */

#include "input_manager.h"
#include "display_manager.h"
#include "fan_ctrl.h"
#include "settings_manager.h"
#include "wifi_manager.h"

#include <zephyr/dt-bindings/input/input-event-codes.h>
#include <zephyr/input/input.h>
#include <zephyr/kernel.h>
#include <zephyr/logging/log.h>

LOG_MODULE_REGISTER(input_mgr, LOG_LEVEL_INF);

#define PRESS_SHORT_MS     300
#define DIR_SHORT_MS       350
#define DIR_LONG_MS        700
#define DIR_REPEAT_MS      100

struct key_state {
	bool pressed;
	bool swallow_release;
	int64_t press_ms;
	struct k_work_delayable repeat_work;
};

static struct key_state key_press;
static struct key_state key_left;
static struct key_state key_right;

static void change_fan_speed(int32_t delta)
{
	int32_t target = (int32_t)fan_ctrl_get_target_speed() + delta;

	if (target < 0) {
		target = 0;
	} else if (target > (int32_t)FAN_MAX_TARGET_RPM) {
		target = (int32_t)FAN_MAX_TARGET_RPM;
	}
	fan_ctrl_set_target_speed((uint16_t)target);
	display_manager_request_redraw();
}

static void dir_repeat_handler(struct k_work *work, int dir, struct key_state *st)
{
	ARG_UNUSED(work);

	if (!st->pressed) {
		return;
	}

	if (!display_manager_is_wifi_page()) {
		change_fan_speed(dir * 200);
	}
	k_work_schedule(&st->repeat_work, K_MSEC(DIR_REPEAT_MS));
}

static void left_repeat_work_fn(struct k_work *work)
{
	dir_repeat_handler(work, -1, &key_left);
}

static void right_repeat_work_fn(struct k_work *work)
{
	dir_repeat_handler(work, 1, &key_right);
}

static void handle_press_release(int64_t held_ms)
{
	if (held_ms >= PRESS_SHORT_MS) {
		/* 长按丝滑切换页面 */
		display_manager_toggle_page();
		return;
	}

	if (display_manager_is_wifi_page()) {
		struct wifi_info info;

		wifi_manager_get_info(&info);
		/* 第二页面为 AP 模式且存在已保存 WiFi 配置时，短按触发重连 */
		if (info.state == WIFI_STATE_AP && info.has_saved_creds) {
			LOG_INF("Short press on WiFi page (AP mode): reconnecting %s...",
				info.saved_ssid);
			wifi_manager_reconnect();
			display_manager_request_redraw();
		}
	} else {
		/* 主页面保持原逻辑：短按开关风扇 */
		fan_ctrl_turn_switch();
		settings_set_fan_switch(fan_ctrl_get_switch());
		display_manager_request_redraw();
	}
}

static void handle_dir_release(int dir, int64_t held_ms)
{
	if (display_manager_is_wifi_page()) {
		return;
	}

	if (held_ms < DIR_SHORT_MS) {
		change_fan_speed(dir * 100);
	} else if (held_ms < DIR_LONG_MS) {
		change_fan_speed(dir * 1000);
	}

	settings_set_fan_speed(fan_ctrl_get_target_speed());
}

static void button_input_cb(struct input_event *evt, void *user_data)
{
	ARG_UNUSED(user_data);

	if (evt->type != INPUT_EV_KEY) {
		return;
	}

	int64_t now = k_uptime_get();
	bool pressed = (evt->value != 0);

	switch (evt->code) {
	case INPUT_KEY_ENTER:
		if (pressed) {
			key_press.pressed = true;
			key_press.swallow_release = display_manager_wake();
			key_press.press_ms = now;
		} else if (key_press.pressed) {
			bool swallow = key_press.swallow_release;

			key_press.pressed = false;
			key_press.swallow_release = false;
			if (!swallow) {
				handle_press_release(now - key_press.press_ms);
			}
		}
		break;

	case INPUT_KEY_LEFT:
		if (pressed) {
			bool was_off = display_manager_wake();

			key_left.pressed = true;
			key_left.swallow_release = was_off;
			key_left.press_ms = now;
			if (!was_off) {
				k_work_schedule(&key_left.repeat_work, K_MSEC(DIR_LONG_MS));
			}
		} else if (key_left.pressed) {
			bool swallow = key_left.swallow_release;

			key_left.pressed = false;
			key_left.swallow_release = false;
			k_work_cancel_delayable(&key_left.repeat_work);
			if (!swallow) {
				handle_dir_release(-1, now - key_left.press_ms);
			}
		}
		break;

	case INPUT_KEY_RIGHT:
		if (pressed) {
			bool was_off = display_manager_wake();

			key_right.pressed = true;
			key_right.swallow_release = was_off;
			key_right.press_ms = now;
			if (!was_off) {
				k_work_schedule(&key_right.repeat_work, K_MSEC(DIR_LONG_MS));
			}
		} else if (key_right.pressed) {
			bool swallow = key_right.swallow_release;

			key_right.pressed = false;
			key_right.swallow_release = false;
			k_work_cancel_delayable(&key_right.repeat_work);
			if (!swallow) {
				handle_dir_release(1, now - key_right.press_ms);
			}
		}
		break;

	default:
		break;
	}
}

INPUT_CALLBACK_DEFINE(NULL, button_input_cb, NULL);

int input_manager_init(void)
{
	k_work_init_delayable(&key_left.repeat_work, left_repeat_work_fn);
	k_work_init_delayable(&key_right.repeat_work, right_repeat_work_fn);
	LOG_INF("Input manager initialized");
	return 0;
}
```

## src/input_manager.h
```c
/*
 * Copyright (c) 2024 umi
 *
 * SPDX-License-Identifier: Apache-2.0
 */

#ifndef INPUT_MANAGER_H_
#define INPUT_MANAGER_H_

#ifdef __cplusplus
extern "C" {
#endif

int input_manager_init(void);

#ifdef __cplusplus
}
#endif

#endif /* INPUT_MANAGER_H_ */
```

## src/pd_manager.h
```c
/*
 * Copyright (c) 2024 umi
 *
 * SPDX-License-Identifier: Apache-2.0
 */

#ifndef PD_MANAGER_H_
#define PD_MANAGER_H_

#include "husb238.h"
#include <stdint.h>

#ifdef __cplusplus
extern "C" {
#endif

int pd_manager_init(enum husb238_pdo_voltage initial_pdo);
bool pd_manager_is_settled(void);
int pd_manager_request_voltage(enum husb238_pdo_voltage voltage);
enum husb238_pdo_voltage pd_manager_get_target_pdo(void);
uint8_t pd_manager_get_target_volts(void);
enum husb238_pdo_voltage pd_manager_cycle_voltage(int dir);
int pd_manager_get_caps_json(char *buf, size_t buf_size);

#ifdef __cplusplus
}
#endif

#endif /* PD_MANAGER_H_ */
```

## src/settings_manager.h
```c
/*
 * Copyright (c) 2024 umi
 *
 * SPDX-License-Identifier: Apache-2.0
 */

#ifndef SETTINGS_MANAGER_H_
#define SETTINGS_MANAGER_H_

#include <stdbool.h>
#include <stdint.h>

#ifdef __cplusplus
extern "C" {
#endif

int settings_manager_init(void);

uint8_t settings_get_pdo_voltage(void);
int settings_set_pdo_voltage(uint8_t pdo_voltage);

bool settings_get_fan_speed_use_storage(void);
int settings_set_fan_speed_use_storage(bool enable);

uint16_t settings_get_fan_speed(void);
int settings_set_fan_speed(uint16_t rpm);

bool settings_get_fan_switch(void);
int settings_set_fan_switch(bool sw);

void settings_get_pid(float *kp, float *ki, float *kd);
int settings_set_pid(float kp, float ki, float kd);

void settings_get_display_cfg(uint32_t *full_s, uint32_t *dim_s,
			      uint8_t *full_bright, uint8_t *dim_bright);
int settings_set_display_cfg(uint32_t full_s, uint32_t dim_s,
			     uint8_t full_bright, uint8_t dim_bright);

#ifdef __cplusplus
}
#endif

#endif /* SETTINGS_MANAGER_H_ */
```

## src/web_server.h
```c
/*
 * Copyright (c) 2024 umi
 *
 * SPDX-License-Identifier: Apache-2.0
 */

#ifndef WEB_SERVER_H_
#define WEB_SERVER_H_

#ifdef __cplusplus
extern "C" {
#endif

int web_server_start(void);

#ifdef __cplusplus
}
#endif

#endif /* WEB_SERVER_H_ */
```
